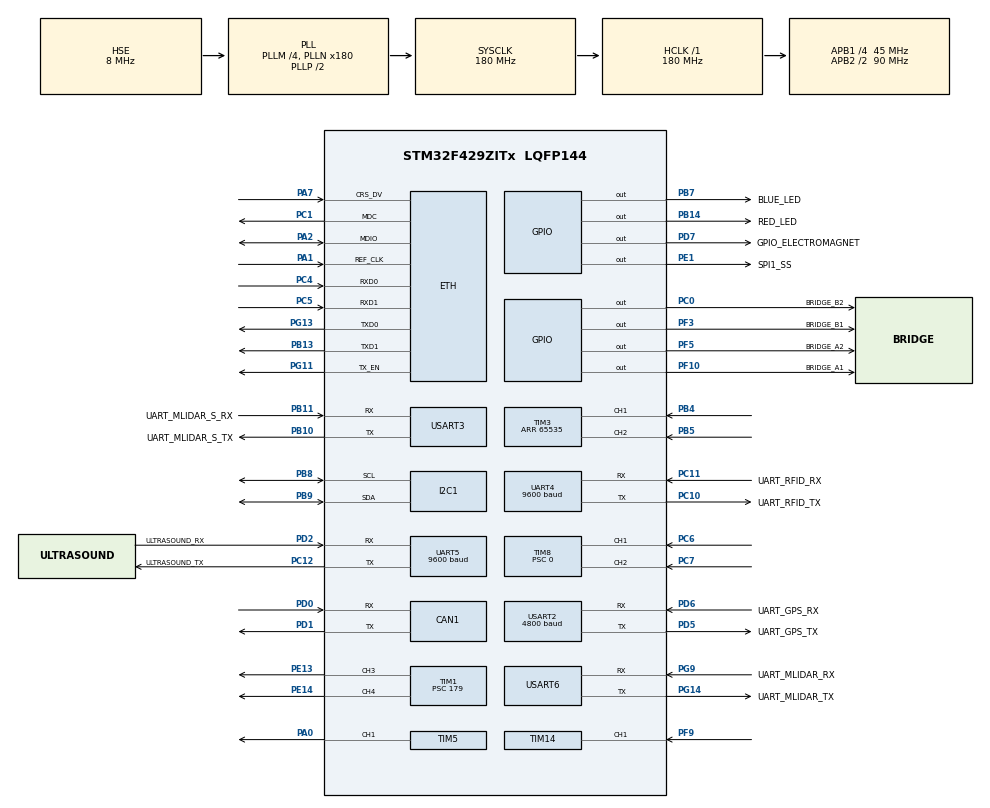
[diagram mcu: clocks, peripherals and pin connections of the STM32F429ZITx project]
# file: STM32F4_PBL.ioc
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CAN1.BS1=CAN_BS1_4TQ
CAN1.BS2=CAN_BS2_2TQ
CAN1.CalculateTimeQuantum=355.55555555555554
Dma.Request0=USART6_RX
Dma.Request1=USART2_RX
Dma.Request2=UART4_RX
Dma.Request3=UART5_RX
Dma.Request4=USART3_RX
Dma.UART4_RX.2.Direction=DMA_PERIPH_TO_MEMORY
Dma.UART4_RX.2.FIFOMode=DMA_FIFOMODE_DISABLE
Dma.UART4_RX.2.Instance=DMA1_Stream2
Dma.UART4_RX.2.MemDataAlignment=DMA_MDATAALIGN_BYTE
Dma.UART4_RX.2.MemInc=DMA_MINC_ENABLE
Dma.UART4_RX.2.Mode=DMA_CIRCULAR
Dma.UART4_RX.2.PeriphDataAlignment=DMA_PDATAALIGN_BYTE
Dma.UART4_RX.2.PeriphInc=DMA_PINC_DISABLE
Dma.UART4_RX.2.Priority=DMA_PRIORITY_LOW
Dma.UART5_RX.3.Direction=DMA_PERIPH_TO_MEMORY
Dma.UART5_RX.3.FIFOMode=DMA_FIFOMODE_DISABLE
Dma.UART5_RX.3.Instance=DMA1_Stream0
Dma.UART5_RX.3.MemDataAlignment=DMA_MDATAALIGN_BYTE
Dma.UART5_RX.3.MemInc=DMA_MINC_ENABLE
Dma.UART5_RX.3.Mode=DMA_CIRCULAR
Dma.UART5_RX.3.PeriphDataAlignment=DMA_PDATAALIGN_BYTE
Dma.UART5_RX.3.PeriphInc=DMA_PINC_DISABLE
Dma.UART5_RX.3.Priority=DMA_PRIORITY_LOW
Dma.USART2_RX.1.Direction=DMA_PERIPH_TO_MEMORY
Dma.USART2_RX.1.FIFOMode=DMA_FIFOMODE_DISABLE
Dma.USART2_RX.1.Instance=DMA1_Stream5
Dma.USART2_RX.1.MemDataAlignment=DMA_MDATAALIGN_BYTE
Dma.USART2_RX.1.MemInc=DMA_MINC_ENABLE
Dma.USART2_RX.1.Mode=DMA_CIRCULAR
Dma.USART2_RX.1.PeriphDataAlignment=DMA_PDATAALIGN_BYTE
Dma.USART2_RX.1.PeriphInc=DMA_PINC_DISABLE
Dma.USART2_RX.1.Priority=DMA_PRIORITY_LOW
Dma.USART3_RX.4.Direction=DMA_PERIPH_TO_MEMORY
Dma.USART3_RX.4.FIFOMode=DMA_FIFOMODE_DISABLE
Dma.USART3_RX.4.Instance=DMA1_Stream1
Dma.USART3_RX.4.MemDataAlignment=DMA_MDATAALIGN_BYTE
Dma.USART3_RX.4.MemInc=DMA_MINC_ENABLE
Dma.USART3_RX.4.Mode=DMA_CIRCULAR
Dma.USART3_RX.4.PeriphDataAlignment=DMA_PDATAALIGN_BYTE
Dma.USART3_RX.4.PeriphInc=DMA_PINC_DISABLE
Dma.USART3_RX.4.Priority=DMA_PRIORITY_LOW
Dma.USART6_RX.0.Direction=DMA_PERIPH_TO_MEMORY
Dma.USART6_RX.0.FIFOMode=DMA_FIFOMODE_DISABLE
Dma.USART6_RX.0.Instance=DMA2_Stream1
Dma.USART6_RX.0.MemDataAlignment=DMA_MDATAALIGN_BYTE
Dma.USART6_RX.0.MemInc=DMA_MINC_ENABLE
Dma.USART6_RX.0.Mode=DMA_CIRCULAR
Dma.USART6_RX.0.PeriphDataAlignment=DMA_PDATAALIGN_BYTE
Dma.USART6_RX.0.PeriphInc=DMA_PINC_DISABLE
Dma.USART6_RX.0.Priority=DMA_PRIORITY_LOW
ETH.MediaInterface=ETH_MEDIA_INTERFACE_RMII
ETH.PHY_ISFR_INT4=0x0010
ETH.PhyAddress=0
I2C1.I2C_Mode=I2C_Fast
LWIP.CHECKSUM_BY_HARDWARE=1
LWIP.GATEWAY_ADDRESS=192.168.001.001
LWIP.IP_ADDRESS=192.168.001.010
LWIP.LWIP_BROADCAST_PING=1
LWIP.LWIP_DHCP=0
LWIP.LWIP_NETIF_LINK_CALLBACK=1
LWIP.LWIP_NETIF_STATUS_CALLBACK=1
LWIP.MEMP_NUM_PBUF=32
LWIP.MEMP_NUM_TCP_SEG=32
LWIP.MEMP_OVERFLOW_CHECK=0
LWIP.MEMP_SANITY_CHECK=1
LWIP.MEM_SIZE=48512
LWIP.NETMASK_ADDRESS=255.255.255.000
LWIP.PBUF_POOL_SIZE=32
LWIP.TCP_MSS=1460
LWIP.Version=v2.1.2_Cube
Mcu.Family=STM32F4
Mcu.Name=STM32F429ZITx
Mcu.Package=LQFP144
NVIC.CAN1_RX0_IRQn=true\:1\:0\:true\:false\:true\:true\:true
NVIC.CAN1_TX_IRQn=true\:0\:0\:true\:false\:true\:true\:true
NVIC.DMA1_Stream0_IRQn=true\:0\:0\:false\:false\:true\:false\:true
NVIC.DMA1_Stream1_IRQn=true\:0\:0\:false\:false\:true\:false\:true
NVIC.DMA1_Stream2_IRQn=true\:1\:0\:true\:false\:true\:false\:true
NVIC.DMA1_Stream5_IRQn=true\:1\:0\:true\:false\:true\:false\:true
NVIC.DMA2_Stream1_IRQn=true\:0\:0\:true\:false\:true\:false\:true
NVIC.PriorityGroup=NVIC_PRIORITYGROUP_4
NVIC.TIM1_BRK_TIM9_IRQn=true\:1\:0\:true\:false\:true\:true\:true
NVIC.TIM1_TRG_COM_TIM11_IRQn=true\:0\:0\:true\:false\:true\:true\:true
NVIC.TIM1_UP_TIM10_IRQn=true\:1\:0\:true\:false\:true\:true\:true
NVIC.TIM5_IRQn=true\:0\:0\:false\:false\:true\:true\:true
NVIC.TIM6_DAC_IRQn=true\:1\:0\:true\:false\:true\:true\:true
NVIC.TIM7_IRQn=true\:1\:0\:true\:false\:true\:true\:true
NVIC.TIM8_BRK_TIM12_IRQn=true\:0\:0\:true\:false\:true\:true\:true
NVIC.TIM8_TRG_COM_TIM14_IRQn=true\:0\:0\:false\:false\:true\:true\:true
NVIC.TIM8_UP_TIM13_IRQn=true\:0\:0\:false\:false\:true\:true\:true
NVIC.UART4_IRQn=true\:1\:0\:true\:false\:true\:true\:true
NVIC.UART5_IRQn=true\:0\:0\:false\:false\:true\:true\:true
NVIC.USART2_IRQn=true\:1\:0\:true\:false\:true\:true\:true
NVIC.USART3_IRQn=true\:0\:0\:false\:false\:true\:true\:true
NVIC.USART6_IRQn=true\:0\:0\:true\:false\:true\:true\:true
PA0/WKUP.Signal=S_TIM5_CH1
PA1.Mode=RMII
PA1.Signal=ETH_REF_CLK
PA13.Mode=Trace_Asynchronous_SW
PA13.Signal=SYS_JTMS-SWDIO
PA14.Mode=Trace_Asynchronous_SW
PA14.Signal=SYS_JTCK-SWCLK
PA2.Mode=RMII
PA2.Signal=ETH_MDIO
PA7.Mode=RMII
PA7.Signal=ETH_CRS_DV
PB10.GPIO_Label=UART_MLIDAR_S_TX
PB10.Mode=Asynchronous
PB10.Signal=USART3_TX
PB11.GPIO_Label=UART_MLIDAR_S_RX
PB11.Mode=Asynchronous
PB11.Signal=USART3_RX
PB13.Mode=RMII
PB13.Signal=ETH_TXD1
PB14.GPIO_Label=RED_LED
PB14.Signal=GPIO_Output
PB3.Mode=Trace_Asynchronous_SW
PB3.Signal=SYS_JTDO-SWO
PB4.Signal=S_TIM3_CH1
PB5.Signal=S_TIM3_CH2
PB7.GPIO_Label=BLUE_LED
PB7.Signal=GPIO_Output
PB8.Mode=I2C
PB8.Signal=I2C1_SCL
PB9.Mode=I2C
PB9.Signal=I2C1_SDA
PC0.GPIO_Label=BRIDGE_B2
PC0.Signal=GPIO_Output
PC1.Mode=RMII
PC1.Signal=ETH_MDC
PC10.GPIO_Label=UART_RFID_TX
PC10.Mode=Asynchronous
PC10.Signal=UART4_TX
PC11.GPIO_Label=UART_RFID_RX
PC11.Mode=Asynchronous
PC11.Signal=UART4_RX
PC12.GPIO_Label=ULTRASOUND_TX
PC12.Mode=Asynchronous
PC12.Signal=UART5_TX
PC4.Mode=RMII
PC4.Signal=ETH_RXD0
PC5.Mode=RMII
PC5.Signal=ETH_RXD1
PC6.Signal=S_TIM8_CH1
PC7.Signal=S_TIM8_CH2
PD0.Mode=Master
PD0.Signal=CAN1_RX
PD1.Mode=Master
PD1.Signal=CAN1_TX
PD2.GPIO_Label=ULTRASOUND_RX
PD2.Mode=Asynchronous
PD2.Signal=UART5_RX
PD5.GPIO_Label=UART_GPS_TX
PD5.Mode=Asynchronous
PD5.Signal=USART2_TX
PD6.GPIO_Label=UART_GPS_RX
PD6.Mode=Asynchronous
PD6.Signal=USART2_RX
PD7.GPIO_Label=GPIO_ELECTROMAGNET
PD7.Signal=GPIO_Output
PE1.GPIO_Label=SPI1_SS
PE1.Signal=GPIO_Output
PE13.Signal=S_TIM1_CH3
PE14.Signal=S_TIM1_CH4
PF10.GPIO_Label=BRIDGE_A1
PF10.Signal=GPIO_Output
PF3.GPIO_Label=BRIDGE_B1
PF3.Signal=GPIO_Output
PF5.GPIO_Label=BRIDGE_A2
PF5.Signal=GPIO_Output
PF9.Signal=S_TIM14_CH1
PG11.Mode=RMII
PG11.Signal=ETH_TX_EN
PG13.Mode=RMII
PG13.Signal=ETH_TXD0
PG14.GPIO_Label=UART_MLIDAR_TX
PG14.Mode=Asynchronous
PG14.Signal=USART6_TX
PG9.GPIO_Label=UART_MLIDAR_RX
PG9.Mode=Asynchronous
PG9.Signal=USART6_RX
PH0/OSC_IN.Mode=HSE-External-Clock-Source
PH0/OSC_IN.Signal=RCC_OSC_IN
PH1/OSC_OUT.Mode=HSE-External-Clock-Source
PH1/OSC_OUT.Signal=RCC_OSC_OUT
ProjectManager.HeapSize=0x200
ProjectManager.StackSize=0x400
ProjectManager.TargetToolchain=STM32CubeIDE
RCC.48MHZClocksFreq_Value=90000000
RCC.AHBFreq_Value=180000000
RCC.APB1CLKDivider=RCC_HCLK_DIV4
RCC.APB1Freq_Value=45000000
RCC.APB1TimFreq_Value=90000000
RCC.APB2CLKDivider=RCC_HCLK_DIV2
RCC.APB2Freq_Value=90000000
RCC.APB2TimFreq_Value=180000000
RCC.CortexFreq_Value=180000000
RCC.EnbaleCSS=true
RCC.HCLKFreq_Value=180000000
RCC.HSE_VALUE=8000000
RCC.HSI_VALUE=16000000
RCC.LSE_VALUE=32768
RCC.PLLM=4
RCC.PLLN=180
RCC.PLLSourceVirtual=RCC_PLLSOURCE_HSE
RCC.SYSCLKFreq_VALUE=180000000
RCC.SYSCLKSource=RCC_SYSCLKSOURCE_PLLCLK
RCC.VCOOutputFreq_Value=360000000
SH.S_TIM14_CH1.0=TIM14_CH1,Input_Capture1_from_TI1
SH.S_TIM1_CH3.0=TIM1_CH3,PWM Generation3 CH3
SH.S_TIM1_CH4.0=TIM1_CH4,PWM Generation4 CH4
SH.S_TIM3_CH1.0=TIM3_CH1,Encoder_Interface
SH.S_TIM3_CH2.0=TIM3_CH2,Encoder_Interface
SH.S_TIM5_CH1.0=TIM5_CH1,PWM Generation1 CH1
SH.S_TIM8_CH1.0=TIM8_CH1,Encoder_Interface
SH.S_TIM8_CH2.0=TIM8_CH2,Encoder_Interface
TIM1.Channel-PWM\ Generation3\ CH3=TIM_CHANNEL_3
TIM1.Channel-PWM\ Generation4\ CH4=TIM_CHANNEL_4
TIM1.Period=9999
TIM1.Prescaler=179
TIM1.Pulse-PWM\ Generation3\ CH3=1500
TIM1.Pulse-PWM\ Generation4\ CH4=1500
TIM10.Period=99
TIM10.Prescaler=17999
TIM11.Period=99
TIM11.Prescaler=17999
TIM12.Period=1999
TIM12.Prescaler=8999
TIM13.Period=99
TIM13.Prescaler=8999
TIM14.Channel=TIM_CHANNEL_1
TIM14.ICFilter_CH1=15
TIM14.ICPolarity_CH1=TIM_INPUTCHANNELPOLARITY_BOTHEDGE
TIM14.Period=65535
TIM14.Prescaler=89
TIM3.EncoderMode=TIM_ENCODERMODE_TI12
TIM3.IC1Filter=15
TIM3.IC2Filter=15
TIM3.Period=65535
TIM5.Channel-PWM\ Generation1\ CH1=TIM_CHANNEL_1
TIM5.OCFastMode_PWM-PWM\ Generation1\ CH1=TIM_OCFAST_ENABLE
TIM5.Period=9
TIM5.Prescaler=89
TIM6.Period=999
TIM6.Prescaler=899
TIM7.Period=9999
TIM7.Prescaler=8999
TIM8.EncoderMode=TIM_ENCODERMODE_TI12
TIM8.IC1Filter=15
TIM8.IC2Filter=15
TIM8.Period=65535
TIM8.Prescaler=0
TIM9.Period=99
TIM9.Prescaler=17999
UART4.BaudRate=9600
UART4.Mode=MODE_RX
UART4.VirtualMode=Asynchronous
UART5.BaudRate=9600
UART5.VirtualMode=Asynchronous
USART2.BaudRate=4800
USART2.VirtualMode=VM_ASYNC
USART3.VirtualMode=VM_ASYNC
USART6.VirtualMode=VM_ASYNC
VP_LWIP_VS_Enabled.Mode=Enabled
VP_TIM10_VS_ClockSourceINT.Mode=Enable_Timer
VP_TIM11_VS_ClockSourceINT.Mode=Enable_Timer
VP_TIM12_VS_ClockSourceINT.Mode=Internal
VP_TIM13_VS_ClockSourceINT.Mode=Enable_Timer
VP_TIM14_VS_ClockSourceINT.Mode=Enable_Timer
VP_TIM1_VS_ClockSourceINT.Mode=Internal
VP_TIM5_VS_ClockSourceINT.Mode=Internal
VP_TIM6_VS_ClockSourceINT.Mode=Enable_Timer
VP_TIM7_VS_ClockSourceINT.Mode=Enable_Timer
VP_TIM9_VS_ClockSourceINT.Mode=Internal
board=NUCLEO-F429ZI

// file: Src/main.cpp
/* USER CODE BEGIN Header */
/**
  ******************************************************************************
  * @file           : main.c
  * @brief          : Main program body
  ******************************************************************************
  * @attention
  *
  * <h2><center>&copy; Copyright (c) 2019 STMicroelectronics.
  * All rights reserved.</center></h2>
  *
  * This software component is licensed by ST under Ultimate Liberty license
  * SLA0044, the "License"; You may not use this file except in compliance with
  * the License. You may obtain a copy of the License at:
  *                             www.st.com/SLA0044
  *
  ******************************************************************************
  */
/* USER CODE END Header */

#include "main.h"
#include "lwip.h"

/* USER CODE BEGIN Includes */

#include "EncoderSystem.h"
#include "DrivingSystem.h"
#include "IMUSensor.h"
#include "DataPtrVolumePair.h"
#include "DataManagement.h"
#include "tcp_server.h"
#include "tcp_client.h"
#include "udp_client.h"
#include "TimerConfigurator.h"
#include "GPSManager.h"
#include "MiniLidarManager.h"
#include "TimeSync.h"
#include "CANLidar.h"
#include "RFIDManager.h"
#include "Electromagnet.h"
#include "TimeMeasurementSystem.h"
#include "UltrasoundManager.h"
#include "EchoUltrasound.h"

extern "C" void UART_GPS_RX_PROCESSING(void);
extern "C" void UART_LIDAR_RX_PROCESSING(void);
extern "C" void UART_LIDAR_S_RX_PROCESSING(void);
extern "C" void UART_RFID_RX_PROCESSING(void);
extern "C" void UART_ULTRASOUND_RX_PROCESSING(void);

/* USER CODE END Includes */

/* USER CODE BEGIN PD */

#include "globalDefines.h"
#define UDP_CLIENT

/* USER CODE END PD */

CAN_HandleTypeDef hcan1;

I2C_HandleTypeDef hi2c1;

TIM_HandleTypeDef htim1;
TIM_HandleTypeDef htim3;
TIM_HandleTypeDef htim5;
TIM_HandleTypeDef htim6;
TIM_HandleTypeDef htim7;
TIM_HandleTypeDef htim8;
TIM_HandleTypeDef htim9;
TIM_HandleTypeDef htim10;
TIM_HandleTypeDef htim11;
TIM_HandleTypeDef htim12;
TIM_HandleTypeDef htim13;
TIM_HandleTypeDef htim14;

UART_HandleTypeDef huart4;
UART_HandleTypeDef huart5;
UART_HandleTypeDef huart2;
UART_HandleTypeDef huart3;
UART_HandleTypeDef huart6;
DMA_HandleTypeDef hdma_uart4_rx;
DMA_HandleTypeDef hdma_uart5_rx;
DMA_HandleTypeDef hdma_usart2_rx;
DMA_HandleTypeDef hdma_usart3_rx;
DMA_HandleTypeDef hdma_usart6_rx;

/* USER CODE BEGIN PV */

EncoderSystem encoderSystem(&htim3, &htim8);
DrivingSystem drivingSystem(&htim1, TIM_CHANNEL_4, &htim1, TIM_CHANNEL_3);
IMUSensor imuSensors(IMU_NUM_OF_ELEM);
DataManagement dataManagement;
TimerConfigurator timerConfig(&htim6, &htim9, &htim7);
GPSManager gpsManager(&hdma_usart2_rx);
MiniLidarManager miniLidarManager(&hdma_usart6_rx);
TimeSync timeSync;
CANLidar canLidar(&hcan1);
RFIDManager rfidManager(&hdma_uart4_rx);
Electromagnet electromagnet;
TimeMeasurementSystem timMeasureSystem(&htim14);
UltrasoundManager ultrasoundManager(&hdma_uart5_rx, &huart5);
EchoUltrasound echoUltrasound(&htim5, TIM_CHANNEL_1, &htim14);
MiniLidarManager miniLidar_SManager(&hdma_usart3_rx);

std::map<uint8_t, DataPtrVolumePair> dataPtrMap =
{
	{ID_PWM, DataPtrVolumePair{1, SIZE_GET_PWM, std::bind(&DrivingSystem::getDataInArray, &drivingSystem, std::placeholders::_1)}},
	{ID_TIM, DataPtrVolumePair{1, SIZE_GET_TIM, std::bind(&TimerConfigurator::getDataInArray, &timerConfig, std::placeholders::_1)}},
	{ID_ACC, DataPtrVolumePair{IMU_NUM_OF_ELEM, SIZE_GET_ACC, std::bind(&IMUSensor::getAccData, &imuSensors, std::placeholders::_1)}},
	{ID_GYRO, DataPtrVolumePair{IMU_NUM_OF_ELEM, SIZE_GET_GYRO, std::bind(&IMUSensor::getGyroData, &imuSensors, std::placeholders::_1)}},
	{ID_MAG, DataPtrVolumePair{IMU_NUM_OF_ELEM, SIZE_GET_MAG, std::bind(&IMUSensor::getMagData, &imuSensors, std::placeholders::_1)}},
	{ID_ENCODER, DataPtrVolumePair{1, SIZE_GET_ENCODER, std::bind(&EncoderSystem::getDataInArray, &encoderSystem, std::placeholders::_1)}},
	{ID_GPS, DataPtrVolumePair{1, SIZE_GET_GPS, std::bind(&GPSManager::getDataInArray, &gpsManager, std::placeholders::_1)}},
	{ID_MINI_LIDAR, DataPtrVolumePair{1, SIZE_GET_MINI_LIDAR, std::bind(&MiniLidarManager::getDataInArray, &miniLidarManager, std::placeholders::_1)}},
	{ID_CAN_DIST, DataPtrVolumePair{1, SIZE_CAN_DIST, std::bind(&CANLidar::getDistanceDataInArray, &canLidar, std::placeholders::_1)}},
	{ID_CAN_SPEED, DataPtrVolumePair{1, SIZE_CAN_SPEED, std::bind(&CANLidar::getSpeedDataInArray, &canLidar, std::placeholders::_1)}},
	{ID_CAN_REFLE, DataPtrVolumePair{1, SIZE_CAN_REFLE, std::bind(&CANLidar::getReflectionDataInArray, &canLidar, std::placeholders::_1)}},
	{ID_RFID, DataPtrVolumePair{1, SIZE_RFID, std::bind(&RFIDManager::getDataInArray, &rfidManager, std::placeholders::_1)}},
	{ID_ULTRASOUND, DataPtrVolumePair{1, SIZE_GET_ULTRASOUND, std::bind(&UltrasoundManager::getDataInArray, &ultrasoundManager, std::placeholders::_1)}},
	{ID_ECHO_ULTRASOUND, DataPtrVolumePair{1, SIZE_GET_ECHO_ULTRASOUND, std::bind(&EchoUltrasound::getDataInArray, &echoUltrasound, std::placeholders::_1)}},
	{ID_TIM_MEASURE, DataPtrVolumePair{1, SIZE_GET_TIME_MEASURE, std::bind(&TimeMeasurementSystem::getDataInArray, &timMeasureSystem, std::placeholders::_1)}},
	{ID_MINI_LIDAR_S, DataPtrVolumePair{1, SIZE_GET_MINI_LIDAR_S, std::bind(&MiniLidarManager::getDataInArray, &miniLidar_SManager, std::placeholders::_1)}},
	{ID_PACKETS_INFO, DataPtrVolumePair{1, SIZE_GET_PACKETS_INFO, std::bind(&DataManagement::getPacketsInfo, &dataManagement, std::placeholders::_1)}},
	{ID_TIME_SYNC, DataPtrVolumePair{1, SIZE_GET_TIME_SYNC, std::bind(&TimeSync::getDataInArray, &timeSync, std::placeholders::_1)}}
};

/* USER CODE END PV */

void SystemClock_Config(void);
static void MX_GPIO_Init(void);
static void MX_DMA_Init(void);
static void MX_I2C1_Init(void);
static void MX_TIM6_Init(void);
static void MX_TIM7_Init(void);
static void MX_TIM8_Init(void);
static void MX_TIM9_Init(void);
static void MX_TIM1_Init(void);
static void MX_TIM10_Init(void);
static void MX_TIM11_Init(void);
static void MX_TIM3_Init(void);
static void MX_USART2_UART_Init(void);
static void MX_USART6_UART_Init(void);
static void MX_CAN1_Init(void);
static void MX_TIM5_Init(void);
static void MX_TIM12_Init(void);
static void MX_TIM13_Init(void);
static void MX_TIM14_Init(void);
static void MX_UART4_Init(void);
static void MX_UART5_Init(void);
static void MX_USART3_UART_Init(void);

/* USER CODE BEGIN 0 */

int _write(int file, char *ptr, int len)
{
	for (int i = 0; i < len; i++)
	{
		ITM_SendChar(*ptr++);
	}
	return len;
}

void HAL_TIM_PeriodElapsedCallback(TIM_HandleTypeDef *htim)
{
	if (htim->Instance == TIM6)
	{
		timMeasureSystem.takeTS(0);

		imuSensors.pullDataFromSensorsI2C(&hi2c1);

		timMeasureSystem.calculateElapsedTime(0);
	}

	if (htim->Instance == TIM7)
	{
		HAL_GPIO_TogglePin(BLUE_LED_GPIO_Port, BLUE_LED_Pin);
	}

	if (htim->Instance == TIM9)
	{
		timMeasureSystem.takeTS(1);

		uint16_t dataLength;
		std::unique_ptr<uint8_t[]> dataBuffer = std::make_unique<uint8_t[]>(dataManagement.getMaxDataSize());

		dataLength = dataManagement.getCollectedData(dataBuffer.get());

#ifdef UDP_CLIENT
		udp_client_send(dataBuffer.get(), dataLength);
#else
		sendDataWhileConnected(dataBuffer.get(), dataLength);
#endif

		timMeasureSystem.calculateElapsedTime(1);
	}

	if (htim->Instance == TIM10)
	{
		timMeasureSystem.takeTS(2);

		encoderSystem.encoderService();

		timMeasureSystem.calculateElapsedTime(2);
	}

	if (htim->Instance == TIM11)
	{
		timMeasureSystem.takeTS(3);

		drivingSystem.drivingService();

		timMeasureSystem.calculateElapsedTime(3);
	}

	if (htim->Instance == TIM13)
	{
		timMeasureSystem.takeTS(4);

		canLidar.scheduleADASFrames();

		timMeasureSystem.calculateElapsedTime(4);
	}

	if (htim->Instance == TIM12)
	{
		timMeasureSystem.takeTS(5);

		ultrasoundManager.fetchDistanceData();
		echoUltrasound.generateTriggerImpulse();

		timMeasureSystem.calculateElapsedTime(5);
	}
}

void UART_GPS_RX_PROCESSING(void)
{
	gpsManager.processRxData();
}

void UART_LIDAR_RX_PROCESSING()
{
	miniLidarManager.processRxData();
}

void UART_LIDAR_S_RX_PROCESSING()
{
	miniLidar_SManager.processRxData();
}

void UART_RFID_RX_PROCESSING(void)
{
	rfidManager.processRxData();
}

void UART_ULTRASOUND_RX_PROCESSING(void)
{
	ultrasoundManager.processRxData();
}

void HAL_UART_RxHalfCpltCallback(UART_HandleTypeDef *huart)
{
	if(huart->Instance == USART6)
	{
		miniLidarManager.processRxData();
	}

	if(huart->Instance == USART3)
	{
		miniLidar_SManager.processRxData();
	}

	if(huart->Instance == UART5)
	{
		ultrasoundManager.processRxData();
	}

	if(huart->Instance == USART2)
	{
		gpsManager.processRxData();
	}

	if(huart->Instance == UART4)
	{
		rfidManager.processRxData();
	}
}

void HAL_UART_RxCpltCallback(UART_HandleTypeDef *huart)
{
	if(huart->Instance == USART6)
	{
		miniLidarManager.processRxData();
	}

	if(huart->Instance == USART3)
	{
		miniLidar_SManager.processRxData();
	}

	if(huart->Instance == UART5)
	{
		ultrasoundManager.processRxData();
	}

	if(huart->Instance == USART2)
	{
		gpsManager.processRxData();
	}

	if(huart->Instance == UART4)
	{
		rfidManager.processRxData();
	}
}

void HAL_CAN_TxMailbox0CompleteCallback(CAN_HandleTypeDef *hcan)
{
	canLidar.sendCANFrames();
}

void HAL_CAN_TxMailbox1CompleteCallback(CAN_HandleTypeDef *hcan)
{
	canLidar.sendCANFrames();
}

void HAL_CAN_TxMailbox2CompleteCallback(CAN_HandleTypeDef *hcan)
{
	canLidar.sendCANFrames();
}

void HAL_CAN_RxFifo0MsgPendingCallback(CAN_HandleTypeDef *hcan)
{
	canLidar.processRXData(CAN_RX_FIFO0);
}

void HAL_CAN_RxFifo1MsgPendingCallback(CAN_HandleTypeDef *hcan)
{
	canLidar.processRXData(CAN_RX_FIFO1);
}

void HAL_TIM_IC_CaptureCallback(TIM_HandleTypeDef *htim)
{
	if(htim->Instance == TIM14)
	{
		if(HAL_GPIO_ReadPin(GPIOF, GPIO_PIN_9))
		{
			echoUltrasound.takeTimeStamp();
		}
		else
		{
			echoUltrasound.calculateDistance();
		}
	}
}

void HAL_TIM_PWM_PulseFinishedCallback(TIM_HandleTypeDef *htim)
{
	if (htim->Instance == TIM5)
	{
		__HAL_TIM_SET_COMPARE(&htim5, TIM_CHANNEL_1, 0);
	}
}

/* USER CODE END 0 */

int main(void)
{

  /* MCU Configuration--------------------------------------------------------*/

  /* Reset of all peripherals, Initializes the Flash interface and the Systick. */
  HAL_Init();

  /* Configure the system clock */
  SystemClock_Config();

  /* Initialize all configured peripherals */
  MX_GPIO_Init();
  MX_DMA_Init();
  MX_I2C1_Init();
  MX_TIM6_Init();
  MX_TIM7_Init();
  MX_TIM8_Init();
  MX_TIM9_Init();
  MX_LWIP_Init();
  MX_TIM1_Init();
  MX_TIM10_Init();
  MX_TIM11_Init();
  MX_TIM3_Init();
  MX_USART2_UART_Init();
  MX_USART6_UART_Init();
  MX_CAN1_Init();
  MX_TIM5_Init();
  MX_TIM12_Init();
  MX_TIM13_Init();
  MX_TIM14_Init();
  MX_UART4_Init();
  MX_UART5_Init();
  MX_USART3_UART_Init();
  /* USER CODE BEGIN 2 */

  canLidar.configureCAN();

  HAL_UART_Receive_DMA(&huart2, gpsManager.getDataBuffer(), gpsManager.getBufferLength());
  HAL_UART_Receive_DMA(&huart6, miniLidarManager.getDataBuffer(), miniLidarManager.getBufferLength());
  HAL_UART_Receive_DMA(&huart3, miniLidar_SManager.getDataBuffer(), miniLidar_SManager.getBufferLength());
  HAL_UART_Receive_DMA(&huart4, rfidManager.getDataBuffer(), rfidManager.getBufferLength());
  HAL_UART_Receive_DMA(&huart5, ultrasoundManager.getDataBuffer(), ultrasoundManager.getBufferLength());

  HAL_I2C_Init(&hi2c1);
  imuSensors.initializeI2C_Sensors(&hi2c1);

  drivingSystem.initialize();

  dataManagement.configure(&dataPtrMap);
  tcp_server_init();

#ifdef UDP_CLIENT
  udp_client_connect();
#endif

  HAL_TIM_IC_Start_IT(&htim14, TIM_CHANNEL_1);
  HAL_TIM_Base_Start_IT(&htim6);
  HAL_TIM_Base_Start_IT(&htim7);
  HAL_TIM_Encoder_Start(&htim8, TIM_CHANNEL_ALL);
  HAL_TIM_Encoder_Start(&htim3, TIM_CHANNEL_ALL);
  HAL_TIM_Base_Start_IT(&htim10);
  HAL_CAN_Start(&hcan1);
  HAL_TIM_PWM_Start_IT(&htim5, TIM_CHANNEL_1);
  HAL_TIM_Base_Start_IT(&htim13);
  HAL_TIM_Base_Start_IT(&htim12);
  HAL_TIM_Base_Start_IT(&htim9);
  HAL_TIM_PWM_Start(&htim1, TIM_CHANNEL_3);
  HAL_TIM_PWM_Start(&htim1, TIM_CHANNEL_4);
  HAL_TIM_Base_Start_IT(&htim11);

  /* USER CODE END 2 */

  /* Infinite loop */
  /* USER CODE BEGIN WHILE */
  while (1)
  {
	  MX_LWIP_Process();

    /* USER CODE END WHILE */

  }
}

void SystemClock_Config(void)
{
  RCC_OscInitTypeDef RCC_OscInitStruct = {0};
  RCC_ClkInitTypeDef RCC_ClkInitStruct = {0};

  /** Configure the main internal regulator output voltage
  */
  __HAL_RCC_PWR_CLK_ENABLE();
  __HAL_PWR_VOLTAGESCALING_CONFIG(PWR_REGULATOR_VOLTAGE_SCALE1);
  /** Initializes the CPU, AHB and APB busses clocks
  */
  RCC_OscInitStruct.OscillatorType = RCC_OSCILLATORTYPE_HSE;
  RCC_OscInitStruct.HSEState = RCC_HSE_BYPASS;
  RCC_OscInitStruct.PLL.PLLState = RCC_PLL_ON;
  RCC_OscInitStruct.PLL.PLLSource = RCC_PLLSOURCE_HSE;
  RCC_OscInitStruct.PLL.PLLM = 4;
  RCC_OscInitStruct.PLL.PLLN = 180;
  RCC_OscInitStruct.PLL.PLLP = RCC_PLLP_DIV2;
  RCC_OscInitStruct.PLL.PLLQ = 4;
  if (HAL_RCC_OscConfig(&RCC_OscInitStruct) != HAL_OK)
  {
    Error_Handler();
  }
  /** Activate the Over-Drive mode
  */
  if (HAL_PWREx_EnableOverDrive() != HAL_OK)
  {
    Error_Handler();
  }
  /** Initializes the CPU, AHB and APB busses clocks
  */
  RCC_ClkInitStruct.ClockType = RCC_CLOCKTYPE_HCLK|RCC_CLOCKTYPE_SYSCLK
                              |RCC_CLOCKTYPE_PCLK1|RCC_CLOCKTYPE_PCLK2;
  RCC_ClkInitStruct.SYSCLKSource = RCC_SYSCLKSOURCE_PLLCLK;
  RCC_ClkInitStruct.AHBCLKDivider = RCC_SYSCLK_DIV1;
  RCC_ClkInitStruct.APB1CLKDivider = RCC_HCLK_DIV4;
  RCC_ClkInitStruct.APB2CLKDivider = RCC_HCLK_DIV2;

  if (HAL_RCC_ClockConfig(&RCC_ClkInitStruct, FLASH_LATENCY_5) != HAL_OK)
  {
    Error_Handler();
  }
  /** Enables the Clock Security System
  */
  HAL_RCC_EnableCSS();
}

static void MX_CAN1_Init(void)
{

  hcan1.Instance = CAN1;
  hcan1.Init.Prescaler = 16;
  hcan1.Init.Mode = CAN_MODE_NORMAL;
  hcan1.Init.SyncJumpWidth = CAN_SJW_1TQ;
  hcan1.Init.TimeSeg1 = CAN_BS1_4TQ;
  hcan1.Init.TimeSeg2 = CAN_BS2_2TQ;
  hcan1.Init.TimeTriggeredMode = DISABLE;
  hcan1.Init.AutoBusOff = DISABLE;
  hcan1.Init.AutoWakeUp = DISABLE;
  hcan1.Init.AutoRetransmission = DISABLE;
  hcan1.Init.ReceiveFifoLocked = DISABLE;
  hcan1.Init.TransmitFifoPriority = DISABLE;
  if (HAL_CAN_Init(&hcan1) != HAL_OK)
  {
    Error_Handler();
  }

}

static void MX_I2C1_Init(void)
{

  hi2c1.Instance = I2C1;
  hi2c1.Init.ClockSpeed = 400000;
  hi2c1.Init.DutyCycle = I2C_DUTYCYCLE_2;
  hi2c1.Init.OwnAddress1 = 0;
  hi2c1.Init.AddressingMode = I2C_ADDRESSINGMODE_7BIT;
  hi2c1.Init.DualAddressMode = I2C_DUALADDRESS_DISABLE;
  hi2c1.Init.OwnAddress2 = 0;
  hi2c1.Init.GeneralCallMode = I2C_GENERALCALL_DISABLE;
  hi2c1.Init.NoStretchMode = I2C_NOSTRETCH_DISABLE;
  if (HAL_I2C_Init(&hi2c1) != HAL_OK)
  {
    Error_Handler();
  }
  /** Configure Analogue filter
  */
  if (HAL_I2CEx_ConfigAnalogFilter(&hi2c1, I2C_ANALOGFILTER_ENABLE) != HAL_OK)
  {
    Error_Handler();
  }
  /** Configure Digital filter
  */
  if (HAL_I2CEx_ConfigDigitalFilter(&hi2c1, 0) != HAL_OK)
  {
    Error_Handler();
  }

}

static void MX_TIM1_Init(void)
{

  TIM_ClockConfigTypeDef sClockSourceConfig = {0};
  TIM_MasterConfigTypeDef sMasterConfig = {0};
  TIM_OC_InitTypeDef sConfigOC = {0};
  TIM_BreakDeadTimeConfigTypeDef sBreakDeadTimeConfig = {0};

  htim1.Instance = TIM1;
  htim1.Init.Prescaler = 179;
  htim1.Init.CounterMode = TIM_COUNTERMODE_UP;
  htim1.Init.Period = 9999;
  htim1.Init.ClockDivision = TIM_CLOCKDIVISION_DIV1;
  htim1.Init.RepetitionCounter = 0;
  htim1.Init.AutoReloadPreload = TIM_AUTORELOAD_PRELOAD_DISABLE;
  if (HAL_TIM_Base_Init(&htim1) != HAL_OK)
  {
    Error_Handler();
  }
  sClockSourceConfig.ClockSource = TIM_CLOCKSOURCE_INTERNAL;
  if (HAL_TIM_ConfigClockSource(&htim1, &sClockSourceConfig) != HAL_OK)
  {
    Error_Handler();
  }
  if (HAL_TIM_PWM_Init(&htim1) != HAL_OK)
  {
    Error_Handler();
  }
  sMasterConfig.MasterOutputTrigger = TIM_TRGO_RESET;
  sMasterConfig.MasterSlaveMode = TIM_MASTERSLAVEMODE_DISABLE;
  if (HAL_TIMEx_MasterConfigSynchronization(&htim1, &sMasterConfig) != HAL_OK)
  {
    Error_Handler();
  }
  sConfigOC.OCMode = TIM_OCMODE_PWM1;
  sConfigOC.Pulse = 1500;
  sConfigOC.OCPolarity = TIM_OCPOLARITY_HIGH;
  sConfigOC.OCNPolarity = TIM_OCNPOLARITY_HIGH;
  sConfigOC.OCFastMode = TIM_OCFAST_DISABLE;
  sConfigOC.OCIdleState = TIM_OCIDLESTATE_RESET;
  sConfigOC.OCNIdleState = TIM_OCNIDLESTATE_RESET;
  if (HAL_TIM_PWM_ConfigChannel(&htim1, &sConfigOC, TIM_CHANNEL_3) != HAL_OK)
  {
    Error_Handler();
  }
  if (HAL_TIM_PWM_ConfigChannel(&htim1, &sConfigOC, TIM_CHANNEL_4) != HAL_OK)
  {
    Error_Handler();
  }
  sBreakDeadTimeConfig.OffStateRunMode = TIM_OSSR_DISABLE;
  sBreakDeadTimeConfig.OffStateIDLEMode = TIM_OSSI_DISABLE;
  sBreakDeadTimeConfig.LockLevel = TIM_LOCKLEVEL_OFF;
  sBreakDeadTimeConfig.DeadTime = 0;
  sBreakDeadTimeConfig.BreakState = TIM_BREAK_DISABLE;
  sBreakDeadTimeConfig.BreakPolarity = TIM_BREAKPOLARITY_HIGH;
  sBreakDeadTimeConfig.AutomaticOutput = TIM_AUTOMATICOUTPUT_DISABLE;
  if (HAL_TIMEx_ConfigBreakDeadTime(&htim1, &sBreakDeadTimeConfig) != HAL_OK)
  {
    Error_Handler();
  }
  HAL_TIM_MspPostInit(&htim1);

}

static void MX_TIM3_Init(void)
{

  TIM_Encoder_InitTypeDef sConfig = {0};
  TIM_MasterConfigTypeDef sMasterConfig = {0};

  htim3.Instance = TIM3;
  htim3.Init.Prescaler = 0;
  htim3.Init.CounterMode = TIM_COUNTERMODE_UP;
  htim3.Init.Period = 65535;
  htim3.Init.ClockDivision = TIM_CLOCKDIVISION_DIV1;
  htim3.Init.AutoReloadPreload = TIM_AUTORELOAD_PRELOAD_DISABLE;
  sConfig.EncoderMode = TIM_ENCODERMODE_TI12;
  sConfig.IC1Polarity = TIM_ICPOLARITY_RISING;
  sConfig.IC1Selection = TIM_ICSELECTION_DIRECTTI;
  sConfig.IC1Prescaler = TIM_ICPSC_DIV1;
  sConfig.IC1Filter = 15;
  sConfig.IC2Polarity = TIM_ICPOLARITY_RISING;
  sConfig.IC2Selection = TIM_ICSELECTION_DIRECTTI;
  sConfig.IC2Prescaler = TIM_ICPSC_DIV1;
  sConfig.IC2Filter = 15;
  if (HAL_TIM_Encoder_Init(&htim3, &sConfig) != HAL_OK)
  {
    Error_Handler();
  }
  sMasterConfig.MasterOutputTrigger = TIM_TRGO_RESET;
  sMasterConfig.MasterSlaveMode = TIM_MASTERSLAVEMODE_DISABLE;
  if (HAL_TIMEx_MasterConfigSynchronization(&htim3, &sMasterConfig) != HAL_OK)
  {
    Error_Handler();
  }

}

static void MX_TIM5_Init(void)
{

  TIM_ClockConfigTypeDef sClockSourceConfig = {0};
  TIM_MasterConfigTypeDef sMasterConfig = {0};
  TIM_OC_InitTypeDef sConfigOC = {0};

  htim5.Instance = TIM5;
  htim5.Init.Prescaler = 89;
  htim5.Init.CounterMode = TIM_COUNTERMODE_UP;
  htim5.Init.Period = 9;
  htim5.Init.ClockDivision = TIM_CLOCKDIVISION_DIV1;
  htim5.Init.AutoReloadPreload = TIM_AUTORELOAD_PRELOAD_DISABLE;
  if (HAL_TIM_Base_Init(&htim5) != HAL_OK)
  {
    Error_Handler();
  }
  sClockSourceConfig.ClockSource = TIM_CLOCKSOURCE_INTERNAL;
  if (HAL_TIM_ConfigClockSource(&htim5, &sClockSourceConfig) != HAL_OK)
  {
    Error_Handler();
  }
  if (HAL_TIM_PWM_Init(&htim5) != HAL_OK)
  {
    Error_Handler();
  }
  sMasterConfig.MasterOutputTrigger = TIM_TRGO_RESET;
  sMasterConfig.MasterSlaveMode = TIM_MASTERSLAVEMODE_DISABLE;
  if (HAL_TIMEx_MasterConfigSynchronization(&htim5, &sMasterConfig) != HAL_OK)
  {
    Error_Handler();
  }
  sConfigOC.OCMode = TIM_OCMODE_PWM1;
  sConfigOC.Pulse = 0;
  sConfigOC.OCPolarity = TIM_OCPOLARITY_HIGH;
  sConfigOC.OCFastMode = TIM_OCFAST_ENABLE;
  if (HAL_TIM_PWM_ConfigChannel(&htim5, &sConfigOC, TIM_CHANNEL_1) != HAL_OK)
  {
    Error_Handler();
  }
  HAL_TIM_MspPostInit(&htim5);

}

static void MX_TIM6_Init(void)
{

  TIM_MasterConfigTypeDef sMasterConfig = {0};

  htim6.Instance = TIM6;
  htim6.Init.Prescaler = 899;
  htim6.Init.CounterMode = TIM_COUNTERMODE_UP;
  htim6.Init.Period = 999;
  htim6.Init.AutoReloadPreload = TIM_AUTORELOAD_PRELOAD_DISABLE;
  if (HAL_TIM_Base_Init(&htim6) != HAL_OK)
  {
    Error_Handler();
  }
  sMasterConfig.MasterOutputTrigger = TIM_TRGO_RESET;
  sMasterConfig.MasterSlaveMode = TIM_MASTERSLAVEMODE_DISABLE;
  if (HAL_TIMEx_MasterConfigSynchronization(&htim6, &sMasterConfig) != HAL_OK)
  {
    Error_Handler();
  }

}

static void MX_TIM7_Init(void)
{

  TIM_MasterConfigTypeDef sMasterConfig = {0};

  htim7.Instance = TIM7;
  htim7.Init.Prescaler = 8999;
  htim7.Init.CounterMode = TIM_COUNTERMODE_UP;
  htim7.Init.Period = 9999;
  htim7.Init.AutoReloadPreload = TIM_AUTORELOAD_PRELOAD_DISABLE;
  if (HAL_TIM_Base_Init(&htim7) != HAL_OK)
  {
    Error_Handler();
  }
  sMasterConfig.MasterOutputTrigger = TIM_TRGO_RESET;
  sMasterConfig.MasterSlaveMode = TIM_MASTERSLAVEMODE_DISABLE;
  if (HAL_TIMEx_MasterConfigSynchronization(&htim7, &sMasterConfig) != HAL_OK)
  {
    Error_Handler();
  }

}

static void MX_TIM8_Init(void)
{

  TIM_Encoder_InitTypeDef sConfig = {0};
  TIM_MasterConfigTypeDef sMasterConfig = {0};

  htim8.Instance = TIM8;
  htim8.Init.Prescaler = 0;
  htim8.Init.CounterMode = TIM_COUNTERMODE_UP;
  htim8.Init.Period = 65535;
  htim8.Init.ClockDivision = TIM_CLOCKDIVISION_DIV1;
  htim8.Init.RepetitionCounter = 0;
  htim8.Init.AutoReloadPreload = TIM_AUTORELOAD_PRELOAD_DISABLE;
  sConfig.EncoderMode = TIM_ENCODERMODE_TI12;
  sConfig.IC1Polarity = TIM_ICPOLARITY_RISING;
  sConfig.IC1Selection = TIM_ICSELECTION_DIRECTTI;
  sConfig.IC1Prescaler = TIM_ICPSC_DIV1;
  sConfig.IC1Filter = 15;
  sConfig.IC2Polarity = TIM_ICPOLARITY_RISING;
  sConfig.IC2Selection = TIM_ICSELECTION_DIRECTTI;
  sConfig.IC2Prescaler = TIM_ICPSC_DIV1;
  sConfig.IC2Filter = 15;
  if (HAL_TIM_Encoder_Init(&htim8, &sConfig) != HAL_OK)
  {
    Error_Handler();
  }
  sMasterConfig.MasterOutputTrigger = TIM_TRGO_RESET;
  sMasterConfig.MasterSlaveMode = TIM_MASTERSLAVEMODE_DISABLE;
  if (HAL_TIMEx_MasterConfigSynchronization(&htim8, &sMasterConfig) != HAL_OK)
  {
    Error_Handler();
  }

}

static void MX_TIM9_Init(void)
{

  TIM_ClockConfigTypeDef sClockSourceConfig = {0};

  htim9.Instance = TIM9;
  htim9.Init.Prescaler = 17999;
  htim9.Init.CounterMode = TIM_COUNTERMODE_UP;
  htim9.Init.Period = 99;
  htim9.Init.ClockDivision = TIM_CLOCKDIVISION_DIV1;
  htim9.Init.AutoReloadPreload = TIM_AUTORELOAD_PRELOAD_DISABLE;
  if (HAL_TIM_Base_Init(&htim9) != HAL_OK)
  {
    Error_Handler();
  }
  sClockSourceConfig.ClockSource = TIM_CLOCKSOURCE_INTERNAL;
  if (HAL_TIM_ConfigClockSource(&htim9, &sClockSourceConfig) != HAL_OK)
  {
    Error_Handler();
  }

}

static void MX_TIM10_Init(void)
{

  htim10.Instance = TIM10;
  htim10.Init.Prescaler = 17999;
  htim10.Init.CounterMode = TIM_COUNTERMODE_UP;
  htim10.Init.Period = 99;
  htim10.Init.ClockDivision = TIM_CLOCKDIVISION_DIV1;
  htim10.Init.AutoReloadPreload = TIM_AUTORELOAD_PRELOAD_DISABLE;
  if (HAL_TIM_Base_Init(&htim10) != HAL_OK)
  {
    Error_Handler();
  }

}

static void MX_TIM11_Init(void)
{

  htim11.Instance = TIM11;
  htim11.Init.Prescaler = 17999;
  htim11.Init.CounterMode = TIM_COUNTERMODE_UP;
  htim11.Init.Period = 99;
  htim11.Init.ClockDivision = TIM_CLOCKDIVISION_DIV1;
  htim11.Init.AutoReloadPreload = TIM_AUTORELOAD_PRELOAD_DISABLE;
  if (HAL_TIM_Base_Init(&htim11) != HAL_OK)
  {
    Error_Handler();
  }

}

static void MX_TIM12_Init(void)
{

  TIM_ClockConfigTypeDef sClockSourceConfig = {0};

  htim12.Instance = TIM12;
  htim12.Init.Prescaler = 8999;
  htim12.Init.CounterMode = TIM_COUNTERMODE_UP;
  htim12.Init.Period = 1999;
  htim12.Init.ClockDivision = TIM_CLOCKDIVISION_DIV1;
  htim12.Init.AutoReloadPreload = TIM_AUTORELOAD_PRELOAD_DISABLE;
  if (HAL_TIM_Base_Init(&htim12) != HAL_OK)
  {
    Error_Handler();
  }
  sClockSourceConfig.ClockSource = TIM_CLOCKSOURCE_INTERNAL;
  if (HAL_TIM_ConfigClockSource(&htim12, &sClockSourceConfig) != HAL_OK)
  {
    Error_Handler();
  }

}

static void MX_TIM13_Init(void)
{

  htim13.Instance = TIM13;
  htim13.Init.Prescaler = 8999;
  htim13.Init.CounterMode = TIM_COUNTERMODE_UP;
  htim13.Init.Period = 99;
  htim13.Init.ClockDivision = TIM_CLOCKDIVISION_DIV1;
  htim13.Init.AutoReloadPreload = TIM_AUTORELOAD_PRELOAD_DISABLE;
  if (HAL_TIM_Base_Init(&htim13) != HAL_OK)
  {
    Error_Handler();
  }

}

static void MX_TIM14_Init(void)
{

  TIM_IC_InitTypeDef sConfigIC = {0};

  htim14.Instance = TIM14;
  htim14.Init.Prescaler = 89;
  htim14.Init.CounterMode = TIM_COUNTERMODE_UP;
  htim14.Init.Period = 65535;
  htim14.Init.ClockDivision = TIM_CLOCKDIVISION_DIV1;
  htim14.Init.AutoReloadPreload = TIM_AUTORELOAD_PRELOAD_DISABLE;
  if (HAL_TIM_Base_Init(&htim14) != HAL_OK)
  {
    Error_Handler();
  }
  if (HAL_TIM_IC_Init(&htim14) != HAL_OK)
  {
    Error_Handler();
  }
  sConfigIC.ICPolarity = TIM_INPUTCHANNELPOLARITY_BOTHEDGE;
  sConfigIC.ICSelection = TIM_ICSELECTION_DIRECTTI;
  sConfigIC.ICPrescaler = TIM_ICPSC_DIV1;
  sConfigIC.ICFilter = 15;
  if (HAL_TIM_IC_ConfigChannel(&htim14, &sConfigIC, TIM_CHANNEL_1) != HAL_OK)
  {
    Error_Handler();
  }

}

static void MX_UART4_Init(void)
{

  huart4.Instance = UART4;
  huart4.Init.BaudRate = 9600;
  huart4.Init.WordLength = UART_WORDLENGTH_8B;
  huart4.Init.StopBits = UART_STOPBITS_1;
  huart4.Init.Parity = UART_PARITY_NONE;
  huart4.Init.Mode = UART_MODE_RX;
  huart4.Init.HwFlowCtl = UART_HWCONTROL_NONE;
  huart4.Init.OverSampling = UART_OVERSAMPLING_16;
  if (HAL_UART_Init(&huart4) != HAL_OK)
  {
    Error_Handler();
  }

}

static void MX_UART5_Init(void)
{

  huart5.Instance = UART5;
  huart5.Init.BaudRate = 9600;
  huart5.Init.WordLength = UART_WORDLENGTH_8B;
  huart5.Init.StopBits = UART_STOPBITS_1;
  huart5.Init.Parity = UART_PARITY_NONE;
  huart5.Init.Mode = UART_MODE_TX_RX;
  huart5.Init.HwFlowCtl = UART_HWCONTROL_NONE;
  huart5.Init.OverSampling = UART_OVERSAMPLING_16;
  if (HAL_UART_Init(&huart5) != HAL_OK)
  {
    Error_Handler();
  }

}

static void MX_USART2_UART_Init(void)
{

  huart2.Instance = USART2;
  huart2.Init.BaudRate = 4800;
  huart2.Init.WordLength = UART_WORDLENGTH_8B;
  huart2.Init.StopBits = UART_STOPBITS_1;
  huart2.Init.Parity = UART_PARITY_NONE;
  huart2.Init.Mode = UART_MODE_TX_RX;
  huart2.Init.HwFlowCtl = UART_HWCONTROL_NONE;
  huart2.Init.OverSampling = UART_OVERSAMPLING_16;
  if (HAL_UART_Init(&huart2) != HAL_OK)
  {
    Error_Handler();
  }

}

static void MX_USART3_UART_Init(void)
{

  huart3.Instance = USART3;
  huart3.Init.BaudRate = 115200;
  huart3.Init.WordLength = UART_WORDLENGTH_8B;
  huart3.Init.StopBits = UART_STOPBITS_1;
  huart3.Init.Parity = UART_PARITY_NONE;
  huart3.Init.Mode = UART_MODE_TX_RX;
  huart3.Init.HwFlowCtl = UART_HWCONTROL_NONE;
  huart3.Init.OverSampling = UART_OVERSAMPLING_16;
  if (HAL_UART_Init(&huart3) != HAL_OK)
  {
    Error_Handler();
  }

}

static void MX_USART6_UART_Init(void)
{

  huart6.Instance = USART6;
  huart6.Init.BaudRate = 115200;
  huart6.Init.WordLength = UART_WORDLENGTH_8B;
  huart6.Init.StopBits = UART_STOPBITS_1;
  huart6.Init.Parity = UART_PARITY_NONE;
  huart6.Init.Mode = UART_MODE_TX_RX;
  huart6.Init.HwFlowCtl = UART_HWCONTROL_NONE;
  huart6.Init.OverSampling = UART_OVERSAMPLING_16;
  if (HAL_UART_Init(&huart6) != HAL_OK)
  {
    Error_Handler();
  }

}

static void MX_DMA_Init(void)
{

  /* DMA controller clock enable */
  __HAL_RCC_DMA2_CLK_ENABLE();
  __HAL_RCC_DMA1_CLK_ENABLE();

  /* DMA interrupt init */
  /* DMA1_Stream0_IRQn interrupt configuration */
  HAL_NVIC_SetPriority(DMA1_Stream0_IRQn, 0, 0);
  HAL_NVIC_EnableIRQ(DMA1_Stream0_IRQn);
  /* DMA1_Stream1_IRQn interrupt configuration */
  HAL_NVIC_SetPriority(DMA1_Stream1_IRQn, 0, 0);
  HAL_NVIC_EnableIRQ(DMA1_Stream1_IRQn);
  /* DMA1_Stream2_IRQn interrupt configuration */
  HAL_NVIC_SetPriority(DMA1_Stream2_IRQn, 1, 0);
  HAL_NVIC_EnableIRQ(DMA1_Stream2_IRQn);
  /* DMA1_Stream5_IRQn interrupt configuration */
  HAL_NVIC_SetPriority(DMA1_Stream5_IRQn, 1, 0);
  HAL_NVIC_EnableIRQ(DMA1_Stream5_IRQn);
  /* DMA2_Stream1_IRQn interrupt configuration */
  HAL_NVIC_SetPriority(DMA2_Stream1_IRQn, 0, 0);
  HAL_NVIC_EnableIRQ(DMA2_Stream1_IRQn);

}

static void MX_GPIO_Init(void)
{
  GPIO_InitTypeDef GPIO_InitStruct = {0};

  /* GPIO Ports Clock Enable */
  __HAL_RCC_GPIOF_CLK_ENABLE();
  __HAL_RCC_GPIOH_CLK_ENABLE();
  __HAL_RCC_GPIOC_CLK_ENABLE();
  __HAL_RCC_GPIOA_CLK_ENABLE();
  __HAL_RCC_GPIOE_CLK_ENABLE();
  __HAL_RCC_GPIOB_CLK_ENABLE();
  __HAL_RCC_GPIOD_CLK_ENABLE();
  __HAL_RCC_GPIOG_CLK_ENABLE();

  /*Configure GPIO pin Output Level */
  HAL_GPIO_WritePin(GPIOF, BRIDGE_B1_Pin|BRIDGE_A2_Pin|BRIDGE_A1_Pin, GPIO_PIN_RESET);

  /*Configure GPIO pin Output Level */
  HAL_GPIO_WritePin(BRIDGE_B2_GPIO_Port, BRIDGE_B2_Pin, GPIO_PIN_RESET);

  /*Configure GPIO pin Output Level */
  HAL_GPIO_WritePin(GPIOB, RED_LED_Pin|BLUE_LED_Pin, GPIO_PIN_RESET);

  /*Configure GPIO pin Output Level */
  HAL_GPIO_WritePin(GPIO_ELECTROMAGNET_GPIO_Port, GPIO_ELECTROMAGNET_Pin, GPIO_PIN_RESET);

  /*Configure GPIO pin Output Level */
  HAL_GPIO_WritePin(SPI1_SS_GPIO_Port, SPI1_SS_Pin, GPIO_PIN_RESET);

  /*Configure GPIO pins : BRIDGE_B1_Pin BRIDGE_A2_Pin BRIDGE_A1_Pin */
  GPIO_InitStruct.Pin = BRIDGE_B1_Pin|BRIDGE_A2_Pin|BRIDGE_A1_Pin;
  GPIO_InitStruct.Mode = GPIO_MODE_OUTPUT_PP;
  GPIO_InitStruct.Pull = GPIO_NOPULL;
  GPIO_InitStruct.Speed = GPIO_SPEED_FREQ_LOW;
  HAL_GPIO_Init(GPIOF, &GPIO_InitStruct);

  /*Configure GPIO pin : BRIDGE_B2_Pin */
  GPIO_InitStruct.Pin = BRIDGE_B2_Pin;
  GPIO_InitStruct.Mode = GPIO_MODE_OUTPUT_PP;
  GPIO_InitStruct.Pull = GPIO_NOPULL;
  GPIO_InitStruct.Speed = GPIO_SPEED_FREQ_LOW;
  HAL_GPIO_Init(BRIDGE_B2_GPIO_Port, &GPIO_InitStruct);

  /*Configure GPIO pins : RED_LED_Pin BLUE_LED_Pin */
  GPIO_InitStruct.Pin = RED_LED_Pin|BLUE_LED_Pin;
  GPIO_InitStruct.Mode = GPIO_MODE_OUTPUT_PP;
  GPIO_InitStruct.Pull = GPIO_NOPULL;
  GPIO_InitStruct.Speed = GPIO_SPEED_FREQ_LOW;
  HAL_GPIO_Init(GPIOB, &GPIO_InitStruct);

  /*Configure GPIO pin : GPIO_ELECTROMAGNET_Pin */
  GPIO_InitStruct.Pin = GPIO_ELECTROMAGNET_Pin;
  GPIO_InitStruct.Mode = GPIO_MODE_OUTPUT_PP;
  GPIO_InitStruct.Pull = GPIO_NOPULL;
  GPIO_InitStruct.Speed = GPIO_SPEED_FREQ_LOW;
  HAL_GPIO_Init(GPIO_ELECTROMAGNET_GPIO_Port, &GPIO_InitStruct);

  /*Configure GPIO pin : SPI1_SS_Pin */
  GPIO_InitStruct.Pin = SPI1_SS_Pin;
  GPIO_InitStruct.Mode = GPIO_MODE_OUTPUT_PP;
  GPIO_InitStruct.Pull = GPIO_NOPULL;
  GPIO_InitStruct.Speed = GPIO_SPEED_FREQ_LOW;
  HAL_GPIO_Init(SPI1_SS_GPIO_Port, &GPIO_InitStruct);

}

void Error_Handler(void)
{
}

/************************ (C) COPYRIGHT STMicroelectronics *****END OF FILE****/
